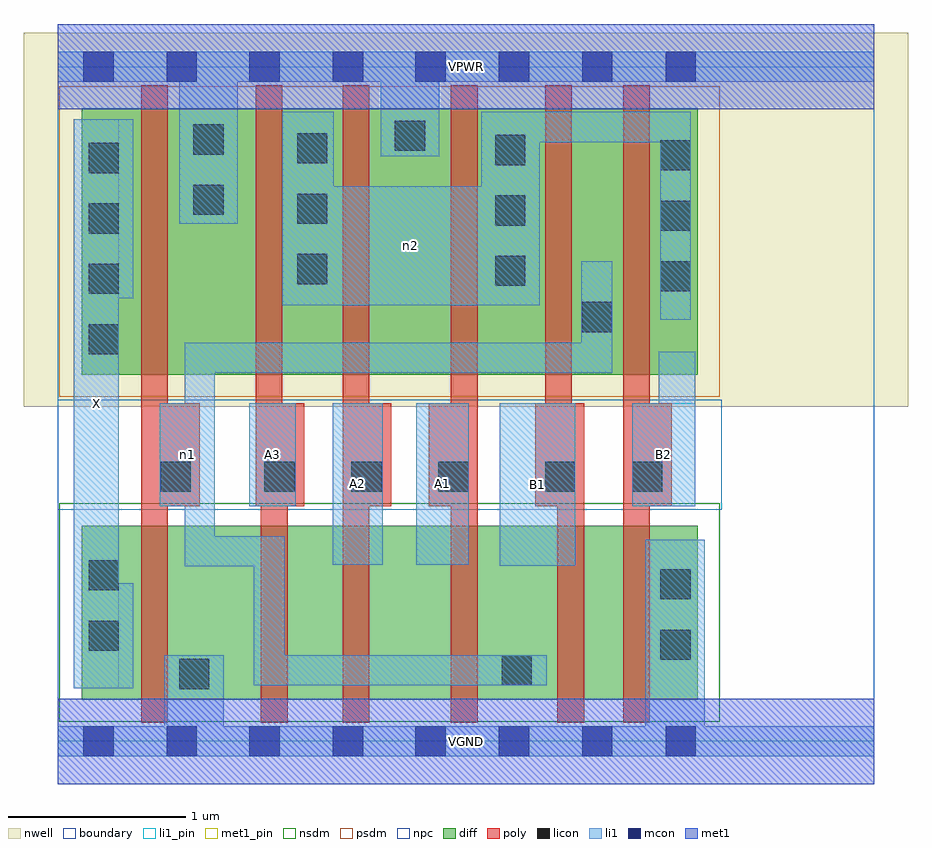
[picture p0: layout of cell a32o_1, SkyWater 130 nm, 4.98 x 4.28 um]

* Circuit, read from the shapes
.subckt a32o_1 A1 A2 A3 B1 B2 VGND VPWR X n1 n2
XM1 VGND n1 X VSUBS sky130_fd_pr__nfet_01v8 w=0.98 l=0.15
XM2 n3 A3 VGND VSUBS sky130_fd_pr__nfet_01v8 w=0.98 l=0.15
XM3 n4 A2 n3 VSUBS sky130_fd_pr__nfet_01v8 w=0.98 l=0.15
XM4 n1 A1 n4 VSUBS sky130_fd_pr__nfet_01v8 w=0.98 l=0.15
XM5 n5 B1 n1 VSUBS sky130_fd_pr__nfet_01v8 w=0.98 l=0.15
XM6 VGND B2 n5 VSUBS sky130_fd_pr__nfet_01v8 w=0.98 l=0.15
XM7 VPWR n1 X n6 sky130_fd_pr__pfet_01v8 w=1.5 l=0.15
XM8 n2 A3 VPWR n6 sky130_fd_pr__pfet_01v8 w=1.5 l=0.15
XM9 VPWR A2 n2 n6 sky130_fd_pr__pfet_01v8 w=1.5 l=0.15
XM10 n2 A1 VPWR n6 sky130_fd_pr__pfet_01v8 w=1.5 l=0.15
XM11 n1 B1 n2 n6 sky130_fd_pr__pfet_01v8 w=1.5 l=0.15
XM12 n2 B2 n1 n6 sky130_fd_pr__pfet_01v8 w=1.5 l=0.15
.ends

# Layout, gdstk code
import gdstk
lib = gdstk.Library(unit=1e-6, precision=1e-09)
def R(c, l, rs):  # rectangles x0, y0, x1, y1
    for r in rs: c.add(gdstk.rectangle(r[:2], r[2:], *l))
def A(c, l, x, y, w, h, nx, ny, dx, dy):  # array of equal rectangles
    R(c, l, [(x+i*dx, y+j*dy, x+i*dx+w, y+j*dy+h) for i in range(nx) for j in range(ny)])
nwell = (64, 20)
diff = (65, 20)
poly = (66, 20)
licon = (66, 44)
li1_pin = (67, 16)
li1 = (67, 20)
mcon = (67, 44)
met1_pin = (68, 16)
met1 = (68, 20)
nsdm = (93, 44)
psdm = (94, 20)
npc = (95, 20)
boundary = (235, 4)

a32o_1 = lib.new_cell('a32o_1')
R(a32o_1, nwell, [(-0.19,1.885,4.79,3.99), (0,1.885,4.6,3.99)])
R(a32o_1, diff, [(0.135,0.235,3.605,1.215), (0.135,2.065,3.605,3.565)])
R(a32o_1, poly, [(0.47,0.105,0.62,3.695), (1.145,0.105,1.295,1.905), (1.605,0.105,1.755,3.695), (2.215,0.105,2.365,3.695), (2.815,0.105,2.965,1.905), (3.185,0.105,3.335,3.695), (0.47,1.325,0.8,1.905), (1.115,1.325,1.265,3.695), (1.115,1.325,1.39,1.905), (1.605,1.325,1.88,1.905), (2.09,1.325,2.365,1.905), (2.69,1.325,2.965,1.905), (2.745,1.325,2.895,3.695), (3.185,1.325,3.46,1.905)])
A(a32o_1, licon, 1.165, 1.405, 0.17, 0.17, 3, 1, 0.49, 0)
A(a32o_1, licon, 0.175, 2.18, 0.17, 0.17, 1, 4, 0, 0.34)
A(a32o_1, licon, 3.395, 2.535, 0.17, 0.17, 1, 3, 0, 0.34)
A(a32o_1, licon, 2.465, 2.565, 0.17, 0.17, 1, 3, 0, 0.34)
A(a32o_1, licon, 1.35, 2.575, 0.17, 0.17, 1, 3, 0, 0.34)
R(a32o_1, licon, [(0.685,0.295,0.855,0.465), (2.5,0.315,2.67,0.485), (3.395,0.46,3.565,0.63), (0.175,0.51,0.345,0.68), (3.395,0.8,3.565,0.97), (0.175,0.85,0.345,1.02), (0.58,1.405,0.75,1.575), (2.745,1.405,2.915,1.575), (3.235,1.405,3.405,1.575), (2.955,2.305,3.125,2.475), (0.765,2.965,0.935,3.135), (0.765,3.305,0.935,3.475), (1.9,3.325,2.07,3.495)])
R(a32o_1, li1_pin, [(0.09,0.3,0.345,3.505), (2.49,0.99,2.915,1.905), (1.55,0.995,1.83,1.905), (2.02,0.995,2.315,1.905), (1.08,1.325,1.34,1.905), (3.235,1.325,3.59,1.905)])
R(a32o_1, li1, [(0,-0.085,4.6,0.085), (0.6,-0.085,0.935,0.485), (3.31,-0.085,3.645,1.135), (0.09,0.3,0.345,3.505), (0.09,0.3,0.425,0.89), (1.105,0.315,2.755,0.485), (1.105,0.315,1.28,1.155), (0.715,0.985,0.885,2.245), (0.715,0.985,1.28,1.155), (2.49,0.99,2.915,1.905), (1.55,0.995,1.83,1.905), (2.02,0.995,2.315,1.905), (0.575,1.325,0.885,1.905), (1.08,1.325,1.34,1.905), (3.235,1.325,3.59,1.905), (3.385,1.325,3.59,2.195), (0.715,2.075,3.125,2.245), (2.95,2.075,3.125,2.705), (3.395,2.375,3.565,3.545), (1.265,2.455,2.715,3.125), (1.265,2.455,1.555,3.545), (2.385,2.455,2.715,3.545), (0.09,2.495,0.425,3.505), (0.685,2.915,1.015,3.885), (1.82,3.295,2.15,3.885), (2.385,3.375,3.565,3.545), (0,3.715,4.6,3.885)])
A(a32o_1, mcon, 2.015, -0.085, 0.17, 0.17, 4, 2, 0.47, 3.8)
R(a32o_1, mcon, [(0.145,-0.085,0.315,0.085), (0.615,-0.085,0.785,0.085), (1.08,-0.085,1.25,0.085), (1.55,-0.085,1.72,0.085), (0.145,3.715,0.315,3.885), (0.615,3.715,0.785,3.885), (1.08,3.715,1.25,3.885), (1.55,3.715,1.72,3.885)])
R(a32o_1, met1_pin, [(0,-0.24,4.6,0.24), (0,3.56,4.6,4.04)])
R(a32o_1, met1, [(0,-0.24,4.6,0.24), (0,3.56,4.6,4.04)])
R(a32o_1, nsdm, [(0.01,0.11,3.73,1.34)])
R(a32o_1, psdm, [(0.01,1.94,3.73,3.69)])
R(a32o_1, npc, [(0,1.305,3.74,1.925)])
R(a32o_1, boundary, [(0,0,4.6,3.8)])
a32o_1.add(gdstk.Label('A1', (2.167,1.45), layer=67, texttype=5))
a32o_1.add(gdstk.Label('A2', (1.69,1.45), layer=67, texttype=5))
a32o_1.add(gdstk.Label('A3', (1.21,1.615), layer=67, texttype=5))
a32o_1.add(gdstk.Label('B1', (2.702,1.447), layer=67, texttype=5))
a32o_1.add(gdstk.Label('B2', (3.412,1.615), layer=67, texttype=5))
a32o_1.add(gdstk.Label('X', (0.217,1.902), layer=67, texttype=5))
a32o_1.add(gdstk.Label('n1', (0.73,1.615), layer=67, texttype=5))
a32o_1.add(gdstk.Label('n2', (1.99,2.79), layer=67, texttype=5))
a32o_1.add(gdstk.Label('VPWR', (2.3,3.8), layer=68, texttype=5))
a32o_1.add(gdstk.Label('VGND', (2.3,0), layer=68, texttype=5))
a32o_1.add(gdstk.Label('A1', (2.167,1.45), layer=67, texttype=16))
a32o_1.add(gdstk.Label('A2', (1.69,1.45), layer=67, texttype=16))
a32o_1.add(gdstk.Label('A3', (1.21,1.615), layer=67, texttype=16))
a32o_1.add(gdstk.Label('B1', (2.702,1.447), layer=67, texttype=16))
a32o_1.add(gdstk.Label('B2', (3.412,1.615), layer=67, texttype=16))
a32o_1.add(gdstk.Label('X', (0.217,1.902), layer=67, texttype=16))
a32o_1.add(gdstk.Label('VPWR', (2.3,3.8), layer=68, texttype=16))
a32o_1.add(gdstk.Label('VGND', (2.3,0), layer=68, texttype=16))

lib.write_gds('a32o_1.gds')
